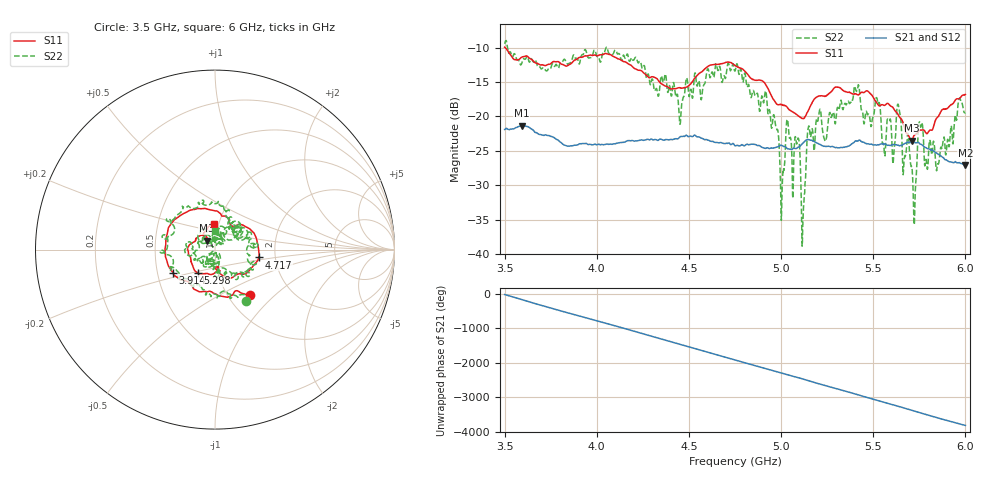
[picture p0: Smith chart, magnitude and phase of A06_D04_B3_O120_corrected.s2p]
! Created with skrf 1.9.0 (http://scikit-rf.org).
# Hz S RI R 50.0
!freq ReS11 ImS11 ReS21 ImS21 ReS12 ImS12 ReS22 ImS22
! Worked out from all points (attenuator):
!   1601 points, 3.5 GHz to 6 GHz, reference 50 ohm
!   highest |S21| = -21.37 dB at 3.592 GHz (marker M1); lowest = -27.1 dB at 6 GHz (marker M2)
!   lowest |S11| = -23.5 dB at 5.708 GHz (marker M3), VSWR 1.14, Z = 45.5 + j4.53 ohm
!   |S11| at or under -10 dB: 3.503 GHz to end of sweep
!   |S22| runs from -38.9 to -9.0 dB; largest |S21 - S12| = 0.0011
!   S11 on the Smith chart (normalised r, x): 3.5 GHz: 1.26, -0.71; 3.914 GHz: 0.60, -0.17; 4.717 GHz: 1.64, -0.15; 5.298 GHz: 0.80, -0.22; 6 GHz: 0.94, +0.28
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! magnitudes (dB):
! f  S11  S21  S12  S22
! 3.5 GHz  -9.9  -21.9  -21.9  -9.5
! 3.592 GHz  -11.4  -21.4  -21.4  -12.3
! 3.914 GHz  -11.4  -24.0  -23.9  -11.4
! 3.917 GHz  -11.4  -24.0  -24.0  -11.1
! 4.334 GHz  -14.8  -23.5  -23.4  -17.1
! 4.717 GHz  -12.1  -23.9  -23.9  -12.5
! 4.75 GHz  -12.6  -24.3  -24.2  -13.4
! 4.923 GHz  -15.7  -24.6  -24.6  -17.9
! 5.006 GHz  -18.3  -24.3  -24.2  -30.0
! 5.036 GHz  -18.8  -24.7  -24.6  -20.6
! 5.088 GHz  -19.8  -24.6  -24.5  -23.7
! 5.119 GHz  -20.3  -23.9  -23.8  -35.0
! 5.167 GHz  -18.1  -23.5  -23.4  -21.9
! 5.298 GHz  -15.7  -24.5  -24.5  -20.2
! 5.584 GHz  -18.2  -24.2  -24.1  -20.6
! 5.611 GHz  -18.9  -24.1  -24.0  -25.8
! 5.639 GHz  -19.9  -24.2  -24.2  -18.7
! 5.708 GHz  -23.5  -23.8  -23.8  -27.2
! 5.727 GHz  -22.7  -23.8  -23.7  -31.9
! 5.756 GHz  -22.0  -24.0  -23.9  -21.6
! 5.848 GHz  -20.2  -25.4  -25.3  -27.1
! 6 GHz  -16.8  -27.1  -27.0  -19.5
